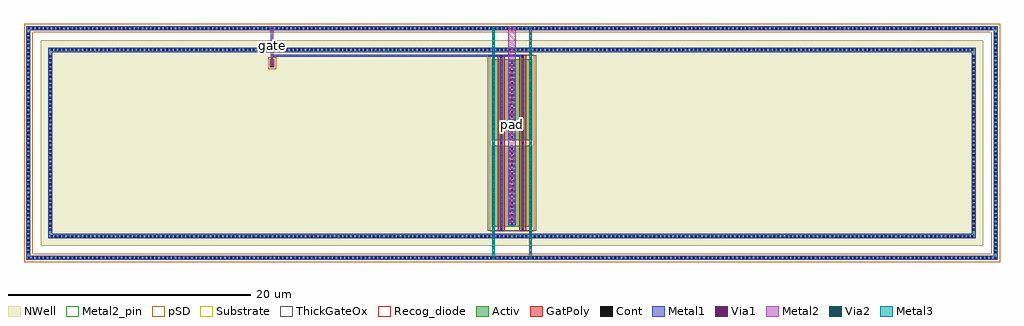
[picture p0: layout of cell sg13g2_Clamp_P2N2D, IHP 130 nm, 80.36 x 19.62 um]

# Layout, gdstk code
import gdstk
lib = gdstk.Library(unit=1e-6, precision=1e-09)
def R(c, l, rs):  # rectangles x0, y0, x1, y1
    for r in rs: c.add(gdstk.rectangle(r[:2], r[2:], *l))
def A(c, l, x, y, w, h, nx, ny, dx, dy):  # array of equal rectangles
    R(c, l, [(x+i*dx, y+j*dy, x+i*dx+w, y+j*dy+h) for i in range(nx) for j in range(ny)])
def P(c, l, *ps):  # polygons
    for p in ps: c.add(gdstk.Polygon(p, *l))
Activ = (1, 0)
GatPoly = (5, 0)
Cont = (6, 0)
Metal1 = (8, 0)
Metal2 = (10, 0)
Metal2_pin = (10, 2)
pSD = (14, 0)
Via1 = (19, 0)
Via2 = (29, 0)
Metal3 = (30, 0)
NWell = (31, 0)
Substrate = (40, 0)
ThickGateOx = (44, 0)
Recog_diode = (99, 31)

sg13g2_guardring_p16000w = lib.new_cell('sg13g2_GuardRing_P16000W3852HFF')
P(sg13g2_guardring_p16000w, Activ, [(-40,-9.63),(-40,9.29),(-39.66,9.29),(-39.66,-9.29),(39.66,-9.29),(39.66,9.29),(-40,9.29),(-40,9.63),(40,9.63),(40,-9.63)])
A(sg13g2_guardring_p16000w, Cont, -39.86, -9.54, 0.16, 0.16, 235, 2, 0.34, 18.92)
A(sg13g2_guardring_p16000w, Cont, -39.91, -9.09, 0.16, 0.16, 1, 54, 0, 0.34)
A(sg13g2_guardring_p16000w, Cont, 39.75, -9.09, 0.16, 0.16, 1, 54, 0, 0.34)
P(sg13g2_guardring_p16000w, Metal1, [(-40,-9.63),(-40,9.29),(-39.66,9.29),(-39.66,-9.29),(39.66,-9.29),(39.66,9.29),(-40,9.29),(-40,9.63),(40,9.63),(40,-9.63)])
P(sg13g2_guardring_p16000w, pSD, [(-40.18,-9.81),(-40.18,9.11),(-39.48,9.11),(-39.48,-9.11),(39.48,-9.11),(39.48,9.11),(-40.18,9.11),(-40.18,9.81),(40.18,9.81),(40.18,-9.81)])
P(sg13g2_guardring_p16000w, Substrate, [(-40,-9.63),(-40,9.29),(-39.66,9.29),(-39.66,-9.29),(39.66,-9.29),(39.66,9.29),(-40,9.29),(-40,9.63),(40,9.63),(40,-9.63)])
sg13g2_guardring_p16000w.add(gdstk.Label('sub!', (-39.83,-9.46), layer=63, texttype=0))

sg13g2_guardring_n15280w = lib.new_cell('sg13g2_GuardRing_N15280W3132HTF')
P(sg13g2_guardring_n15280w, Activ, [(-38.2,-7.83),(-38.2,7.49),(-37.86,7.49),(-37.86,-7.49),(37.86,-7.49),(37.86,7.49),(-38.2,7.49),(-38.2,7.83),(38.2,7.83),(38.2,-7.83)])
A(sg13g2_guardring_n15280w, Cont, -37.99, -7.74, 0.16, 0.16, 224, 2, 0.34, 15.32)
A(sg13g2_guardring_n15280w, Cont, -38.11, -7.22, 0.16, 0.16, 1, 43, 0, 0.34)
A(sg13g2_guardring_n15280w, Cont, 37.95, -7.22, 0.16, 0.16, 1, 43, 0, 0.34)
P(sg13g2_guardring_n15280w, Metal1, [(-38.2,-7.83),(-38.2,7.49),(-37.86,7.49),(-37.86,-7.49),(37.86,-7.49),(37.86,7.49),(-38.2,7.49),(-38.2,7.83),(38.2,7.83),(38.2,-7.83)])
R(sg13g2_guardring_n15280w, NWell, [(-38.82,-8.45,38.82,8.45)])

sg13g2_clamp_p2n2d = lib.new_cell('sg13g2_Clamp_P2N2D')
R(sg13g2_clamp_p2n2d, Activ, [(38.34,2.75,41.66,9.41), (38.34,9.85,41.66,16.51), (20.09,15.87,20.39,16.51)])
R(sg13g2_clamp_p2n2d, GatPoly, [(38.81,2.38,39.41,16.88), (40.59,2.38,41.19,16.88)])
A(sg13g2_clamp_p2n2d, Cont, 39.03, 2.45, 0.16, 0.16, 1, 3, 0, 7.1)
A(sg13g2_clamp_p2n2d, Cont, 40.81, 2.45, 0.16, 0.16, 1, 3, 0, 7.1)
A(sg13g2_clamp_p2n2d, Cont, 38.41, 2.94, 0.16, 0.16, 3, 19, 1.51, 0.34)
A(sg13g2_clamp_p2n2d, Cont, 38.41, 10.04, 0.16, 0.16, 3, 19, 1.51, 0.34)
R(sg13g2_clamp_p2n2d, Cont, [(20.16,15.94,20.32,16.1), (20.16,16.28,20.32,16.44)])
R(sg13g2_clamp_p2n2d, Metal1, [(38.385,1.8,38.595,2.14), (41.405,1.8,41.615,2.14), (38.385,2.86,38.595,9.3), (39.69,2.86,40.31,9.3), (41.405,2.86,41.615,9.3), (38.385,9.96,38.595,16.4), (39.69,9.96,40.31,16.4), (41.405,9.96,41.615,16.4), (38.385,17.12,38.595,17.46), (41.405,17.12,41.615,17.46)])
P(sg13g2_clamp_p2n2d, Metal1, [(39.03,2.37),(39.03,16.73),(20.345,16.73),(20.345,15.86),(20.135,15.86),(20.135,16.89),(40.97,16.89),(40.97,2.37),(40.81,2.37),(40.81,16.73),(39.19,16.73),(39.19,2.37)])
R(sg13g2_clamp_p2n2d, Metal2, [(38.39,0,38.59,19.26), (41.41,0,41.61,19.26), (39.695,3.065,40.305,19.26), (20.14,16.025,20.34,19.26)])
R(sg13g2_clamp_p2n2d, Metal2_pin, [(39.695,3.065,40.305,19.26), (20.14,16.025,20.34,19.26)])
R(sg13g2_clamp_p2n2d, pSD, [(38.16,2.35,41.84,16.91), (19.91,15.69,20.57,16.69)])
A(sg13g2_clamp_p2n2d, Via1, 38.395, 3.115, 0.19, 0.19, 1, 15, 0, 0.41)
A(sg13g2_clamp_p2n2d, Via1, 39.7, 3.115, 0.19, 0.19, 1, 15, 0, 0.41)
A(sg13g2_clamp_p2n2d, Via1, 40.11, 3.115, 0.19, 0.19, 1, 15, 0, 0.41)
A(sg13g2_clamp_p2n2d, Via1, 41.415, 3.115, 0.19, 0.19, 1, 15, 0, 0.41)
A(sg13g2_clamp_p2n2d, Via1, 38.395, 10.215, 0.19, 0.19, 1, 15, 0, 0.41)
A(sg13g2_clamp_p2n2d, Via1, 39.7, 10.215, 0.19, 0.19, 1, 15, 0, 0.41)
A(sg13g2_clamp_p2n2d, Via1, 40.11, 10.215, 0.19, 0.19, 1, 15, 0, 0.41)
A(sg13g2_clamp_p2n2d, Via1, 41.415, 10.215, 0.19, 0.19, 1, 15, 0, 0.41)
R(sg13g2_clamp_p2n2d, Via1, [(38.395,1.875,38.585,2.065), (41.415,1.875,41.605,2.065), (20.145,16.075,20.335,16.265), (20.145,16.485,20.335,16.675), (38.395,17.195,38.585,17.385), (41.415,17.195,41.605,17.385)])
A(sg13g2_clamp_p2n2d, Via2, 38.395, 0.105, 0.19, 0.19, 1, 47, 0, 0.41)
A(sg13g2_clamp_p2n2d, Via2, 41.415, 0.105, 0.19, 0.19, 1, 47, 0, 0.41)
R(sg13g2_clamp_p2n2d, Metal3, [(38.39,0.055,38.59,19.205), (41.41,0.055,41.61,19.205)])
R(sg13g2_clamp_p2n2d, NWell, [(37.72,2.13,42.28,17.13), (19.47,15.25,21.01,17.13)])
R(sg13g2_clamp_p2n2d, ThickGateOx, [(38,2.41,42,16.85)])
R(sg13g2_clamp_p2n2d, Recog_diode, [(20.07,15.85,20.41,16.53)])
sg13g2_clamp_p2n2d.add(gdstk.Reference(sg13g2_guardring_p16000w, (40,9.63)))
sg13g2_clamp_p2n2d.add(gdstk.Reference(sg13g2_guardring_n15280w, (40,9.63)))
sg13g2_clamp_p2n2d.add(gdstk.Label('pad', (40,11.163), layer=10, texttype=25))
sg13g2_clamp_p2n2d.add(gdstk.Label('gate', (20.24,17.643), layer=10, texttype=25))

lib.write_gds('sg13g2_Clamp_P2N2D.gds')
